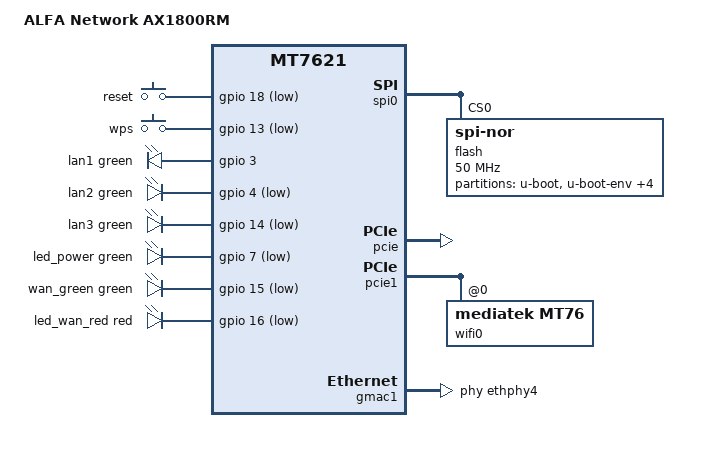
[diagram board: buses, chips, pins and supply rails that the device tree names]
// SPDX-License-Identifier: GPL-2.0-or-later OR MIT

#include "mt7621.dtsi"

#include <dt-bindings/gpio/gpio.h>
#include <dt-bindings/input/input.h>
#include <dt-bindings/leds/common.h>

/ {
	compatible = "alfa-network,ax1800rm", "mediatek,mt7621-soc";
	model = "ALFA Network AX1800RM";

	aliases {
		label-mac-device = &wifi0;
		led-boot = &led_power;
		led-failsafe = &led_wan_red;
		led-running = &led_power;
		led-upgrade = &led_power;
	};

	chosen {
		bootargs = "console=ttyS0,115200";
	};

	keys {
		compatible = "gpio-keys";

		reset {
			label = "reset";
			gpios = <&gpio 18 GPIO_ACTIVE_LOW>;
			linux,code = <KEY_RESTART>;
		};

		wps {
			label = "wps";
			gpios = <&gpio 13 GPIO_ACTIVE_LOW>;
			linux,code = <KEY_WPS_BUTTON>;
		};
	};

	leds {
		compatible = "gpio-leds";

		lan1 {
			color = <LED_COLOR_ID_GREEN>;
			function = LED_FUNCTION_LAN;
			gpios = <&gpio 3 GPIO_ACTIVE_HIGH>;
		};

		lan2 {
			color = <LED_COLOR_ID_GREEN>;
			function = LED_FUNCTION_LAN;
			gpios = <&gpio 4 GPIO_ACTIVE_LOW>;
		};

		lan3 {
			color = <LED_COLOR_ID_GREEN>;
			function = LED_FUNCTION_LAN;
			gpios = <&gpio 14 GPIO_ACTIVE_LOW>;
		};

		led_power: power {
			color = <LED_COLOR_ID_GREEN>;
			function = LED_FUNCTION_POWER;
			gpios = <&gpio 7 GPIO_ACTIVE_LOW>;
		};

		wan_green {
			color = <LED_COLOR_ID_GREEN>;
			function = LED_FUNCTION_WAN;
			gpios = <&gpio 15 GPIO_ACTIVE_LOW>;
		};

		led_wan_red: wan_red {
			color = <LED_COLOR_ID_RED>;
			function = LED_FUNCTION_WAN;
			gpios = <&gpio 16 GPIO_ACTIVE_LOW>;
		};
	};
};

&spi0 {
	status = "okay";

	flash@0 {
		compatible = "jedec,spi-nor";
		reg = <0>;
		spi-max-frequency = <50000000>;
		m25p,fast-read;

		partitions {
			compatible = "fixed-partitions";
			#address-cells = <1>;
			#size-cells = <1>;

			partition@0 {
				label = "u-boot";
				reg = <0x0 0x30000>;
				read-only;
			};

			partition@30000 {
				label = "u-boot-env";
				reg = <0x30000 0x10000>;
			};

			partition@40000 {
				label = "boot-config";
				reg = <0x40000 0x10000>;
				read-only;
			};

			partition@50000 {
				label = "factory";
				reg = <0x50000 0x10000>;
				read-only;

				nvmem-layout {
					compatible = "fixed-layout";
					#address-cells = <1>;
					#size-cells = <1>;

					eeprom: eeprom@0 {
						reg = <0x0 0xe00>;
					};

					macaddr: macaddr@4 {
						compatible = "mac-base";
						reg = <0x4 0x6>;
						#nvmem-cell-cells = <1>;
					};
				};
			};

			partition@60000 {
				label = "permanent_config";
				reg = <0x60000 0x80000>;
				read-only;
			};

			partition@e0000 {
				compatible = "denx,fit";
				label = "firmware";
				reg = <0xe0000 0xf20000>;
			};
		};
	};
};

&pcie {
	status = "okay";
};

&pcie1 {
	wifi0: wifi@0,0 {
		compatible = "mediatek,mt76";
		reg = <0x0000 0 0 0 0>;

		nvmem-cells = <&eeprom>;
		nvmem-cell-names = "eeprom";
		mediatek,disable-radar-background;
	};
};

&gmac0 {
	nvmem-cells = <&macaddr 2>;
	nvmem-cell-names = "mac-address";
};

&gmac1 {
	status = "okay";
	label = "wan";
	phy-handle = <&ethphy4>;

	nvmem-cells = <&macaddr 3>;
	nvmem-cell-names = "mac-address";
};

&ethphy4 {
	/delete-property/ interrupts;
};

&switch0 {
	ports {
		port@0 {
			status = "okay";
			label = "lan1";
		};

		port@1 {
			status = "okay";
			label = "lan2";
		};

		port@2 {
			status = "okay";
			label = "lan3";
		};
	};
};

&state_default {
	gpio {
		groups = "i2c", "jtag", "uart3", "wdt";
		function = "gpio";
	};
};
